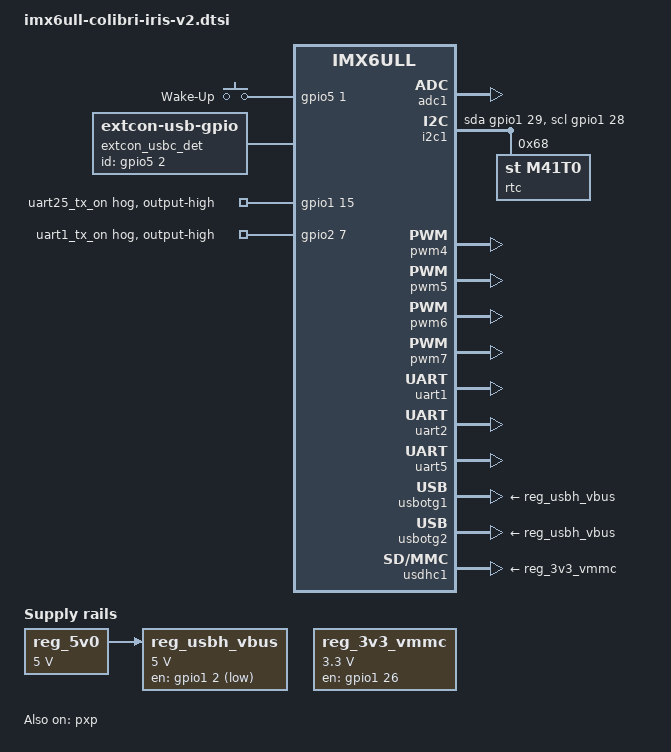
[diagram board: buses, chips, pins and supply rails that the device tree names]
// SPDX-License-Identifier: GPL-2.0+ OR X11
/*
 * Copyright 2018-2019 Toradex
 */

#include <dt-bindings/input/input.h>
#include <dt-bindings/pwm/pwm.h>

/ {
	chosen {
		bootargs = "console=ttymxc0,115200";
	};

	gpio-keys {
		compatible = "gpio-keys";
		pinctrl-names = "default";
		pinctrl-0 = <&pinctrl_snvs_gpiokeys>;

		power {
			label = "Wake-Up";
			gpios = <&gpio5 1 GPIO_ACTIVE_HIGH>;
			linux,code = <KEY_WAKEUP>;
			debounce-interval = <10>;
			gpio-key,wakeup;
		};
	};

	extcon_usbc_det: usbc_det {
		compatible = "linux,extcon-usb-gpio";
		debounce = <25>;
		id-gpio = <&gpio5 2 GPIO_ACTIVE_HIGH>;
		pinctrl-names = "default";
		pinctrl-0 = <&pinctrl_snvs_usbc_det>;
	};

	reg_5v0: regulator-5v0 {
		compatible = "regulator-fixed";
		regulator-name = "5V";
		regulator-min-microvolt = <5000000>;
		regulator-max-microvolt = <5000000>;
	};

	reg_3v3_vmmc: regulator-3v3-vmmc {
		compatible = "regulator-fixed";
		regulator-name = "3v3_vmmc";
		regulator-min-microvolt = <3300000>;
		regulator-max-microvolt = <3300000>;
		gpio = <&gpio1 26 GPIO_ACTIVE_HIGH>;
		startup-delay-us = <100>;
		enable-active-high;
	};

	reg_usbh_vbus: regulator-usbh-vbus {
		compatible = "regulator-fixed";
		pinctrl-names = "default";
		pinctrl-0 = <&pinctrl_usbh_reg>;
		regulator-name = "VCC_USB[1-4]";
		regulator-min-microvolt = <5000000>;
		regulator-max-microvolt = <5000000>;
		gpio = <&gpio1 2 GPIO_ACTIVE_LOW>;
		vin-supply = <&reg_5v0>;
	};
};

&adc1 {
	status = "okay";
};

&pxp {
	status = "okay";
};

&i2c1 {
	pinctrl-names = "default", "gpio";
	pinctrl-0 = <&pinctrl_i2c1>;
	pinctrl-1 = <&pinctrl_i2c1_gpio>;
	sda-gpios = <&gpio1 29 (GPIO_ACTIVE_HIGH | GPIO_OPEN_DRAIN)>;
	scl-gpios = <&gpio1 28 (GPIO_ACTIVE_HIGH | GPIO_OPEN_DRAIN)>;
	status = "okay";

	/* M41T0M6 real time clock on carrier board */
	rtc: m41t0m6@68 {
		compatible = "st,m41t0";
		reg = <0x68>;
	};
};

/* PWM <A> */
&pwm4 {
	status = "okay";
};

/* PWM <B> */
&pwm5 {
	status = "okay";
};

/* PWM <C> */
&pwm6 {
	status = "okay";
};

/* PWM <D> */
&pwm7 {
	status = "okay";
};

/* Colibri UART_A */
&uart1 {
	status = "okay";
};

/* Colibri UART_B */
&uart2 {
	status = "okay";
};

/* Colibri UART_C */
&uart5 {
	status = "okay";
};

&usbotg1 {
	extcon = <&extcon_usbc_det &extcon_usbc_det>;
	vbus-supply = <&reg_usbh_vbus>;
	status = "okay";
};

&usbotg2 {
	vbus-supply = <&reg_usbh_vbus>;
	status = "okay";
};

&usdhc1 {
	cap-power-off-card;
	vmmc-supply = <&reg_3v3_vmmc>;
	/delete-property/ keep-power-in-suspend;
	/delete-property/ no-1-8-v;
	status = "okay";
};

&gpio1 {
	uart25_tx_on {
		gpio-hog;
		gpios = <15 0>;
		output-high;
	};
};

&gpio2 {
	uart1_tx_on {
		gpio-hog;
		gpios = <7 0>;
		output-high;
	};
};

